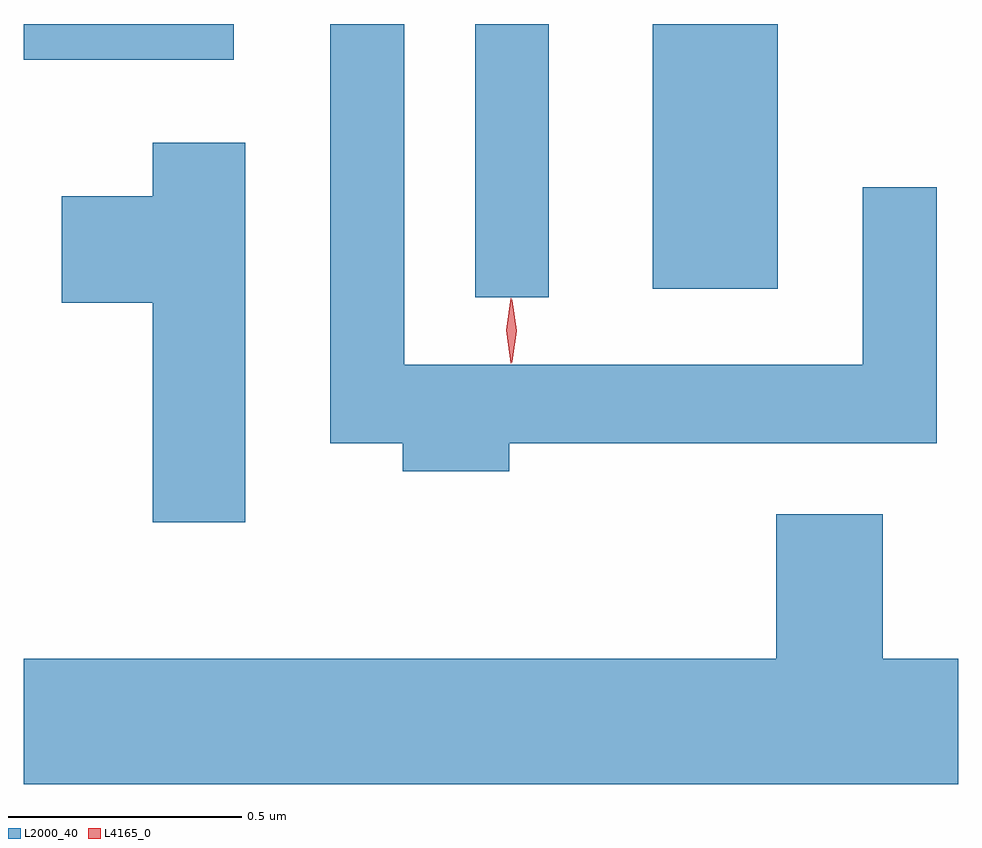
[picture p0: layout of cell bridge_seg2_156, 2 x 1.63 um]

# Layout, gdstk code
import gdstk
lib = gdstk.Library(unit=1e-6, precision=1e-09)
def R(c, l, rs):  # rectangles x0, y0, x1, y1
    for r in rs: c.add(gdstk.rectangle(r[:2], r[2:], *l))
def P(c, l, *ps):  # polygons
    for p in ps: c.add(gdstk.Polygon(p, *l))
L2000_40 = (2000, 40)
L4165_0 = (4165, 0)

bridge_seg2_156 = lib.new_cell('bridge_seg2_156')
R(bridge_seg2_156, L2000_40, [(1063.286,1104.858,1063.444,1105.443), (1063.666,1104.876,1063.934,1105.443), (1062.32,1105.366,1062.769,1105.443)])
P(bridge_seg2_156, L2000_40, [(1063.359,1104.546),(1064.274,1104.546),(1064.274,1105.093),(1064.116,1105.093),(1064.116,1104.714),(1063.134,1104.714),(1063.134,1105.443),(1062.976,1105.443),(1062.976,1104.546),(1063.131,1104.546),(1063.131,1104.486),(1063.359,1104.486)],
  [(1062.794,1105.189),(1062.596,1105.189),(1062.596,1105.074),(1062.401,1105.074),(1062.401,1104.846),(1062.596,1104.846),(1062.596,1104.376),(1062.794,1104.376)],
  [(1064.32,1104.084),(1064.159,1104.084),(1064.159,1104.394),(1063.931,1104.394),(1063.931,1104.084),(1062.32,1104.084),(1062.32,1103.816),(1064.32,1103.816)])
P(bridge_seg2_156, L4165_0, [(1063.362,1104.717),(1063.353,1104.787),(1063.362,1104.856),(1063.363,1104.856),(1063.363,1104.856),(1063.373,1104.787),(1063.363,1104.717),(1063.363,1104.717)],
  [(1063.365,1104.719),(1063.364,1104.72),(1063.355,1104.786),(1063.364,1104.852),(1063.365,1104.853),(1063.366,1104.852),(1063.375,1104.786),(1063.366,1104.72)])

lib.write_gds('bridge_seg2_156.gds')
